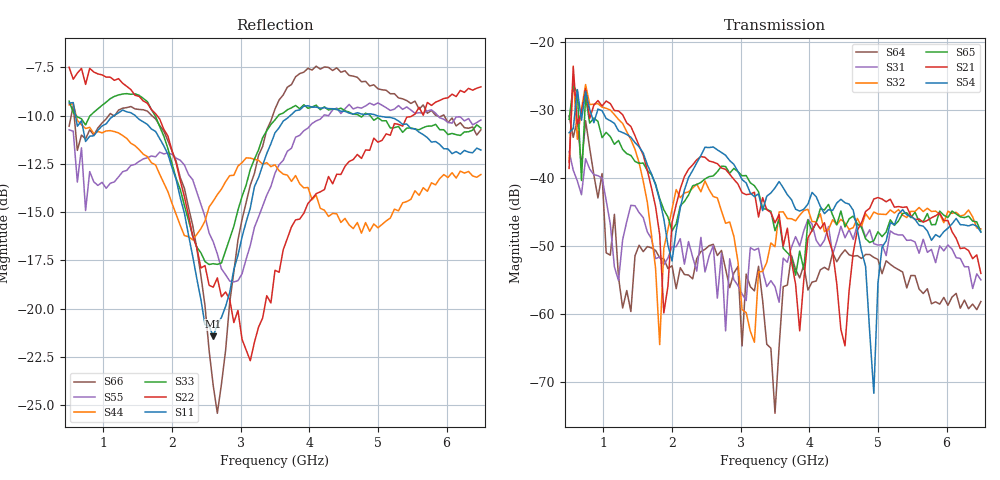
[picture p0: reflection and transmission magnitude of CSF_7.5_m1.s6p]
!Keysight Technologies,M9804A,MY58100912,A.14.10.03
!Date: Thursday, April 27, 2023 10:28:33
!Correction: S11(C  6-Port  )
!S12(C  6-Port  )
!S13(C  6-Port  )
!S14(C  6-Port  )
!S15(C  6-Port  )
!S16(C  6-Port  )
!S21(C  6-Port  )
!S22(C  6-Port  )
!S23(C  6-Port  )
!S24(C  6-Port  )
!S25(C  6-Port  )
!S26(C  6-Port  )
!S31(C  6-Port  )
!S32(C  6-Port  )
!S33(C  6-Port  )
!S34(C  6-Port  )
!S35(C  6-Port  )
!S36(C  6-Port  )
!S41(C  6-Port  )
!S42(C  6-Port  )
!S43(C  6-Port  )
!S44(C  6-Port  )
!S45(C  6-Port  )
!S46(C  6-Port  )
!S51(C  6-Port  )
!S52(C  6-Port  )
!S53(C  6-Port  )
!S54(C  6-Port  )
!S55(C  6-Port  )
!S56(C  6-Port  )
!S61(C  6-Port  )
!S62(C  6-Port  )
!S63(C  6-Port  )
!S64(C  6-Port  )
!S65(C  6-Port  )
!S66(C  6-Port  )
!S6P File: Measurement: :
# Hz S  RI  R 50
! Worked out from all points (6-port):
!   101 points, 500 MHz to 6.5 GHz, reference 50 ohm
!   strongest paths, dB at 500 MHz, 2 GHz, 3.5 GHz, 5 GHz, 6.5 GHz:
!     S54: -33.4, -52.2, -41.5, -55.5, -48.0
!     S21: -38.6, -46.5, -46.6, -42.9, -54.0
!     S65: -31.4, -47.8, -47.8, -47.9, -47.9
!     S32: -37.7, -44.6, -50.1, -45.3, -47.5
!     S31: -36.1, -50.1, -56.0, -49.9, -55.0
!     S64: -30.9, -52.9, -74.6, -52.0, -58.2
!   lowest |S11| = -21.4 dB at 2.6 GHz (marker M1), VSWR 1.19, Z = 42.5 + j2.3 ohm
!   |S11| at or under -10 dB: 593.3 MHz to 1.151 GHz (558.2 MHz wide, 64 % of centre); 1.465 GHz to 3.721 GHz (2.255 GHz wide, 87 % of centre); 4.99 GHz to end of sweep
